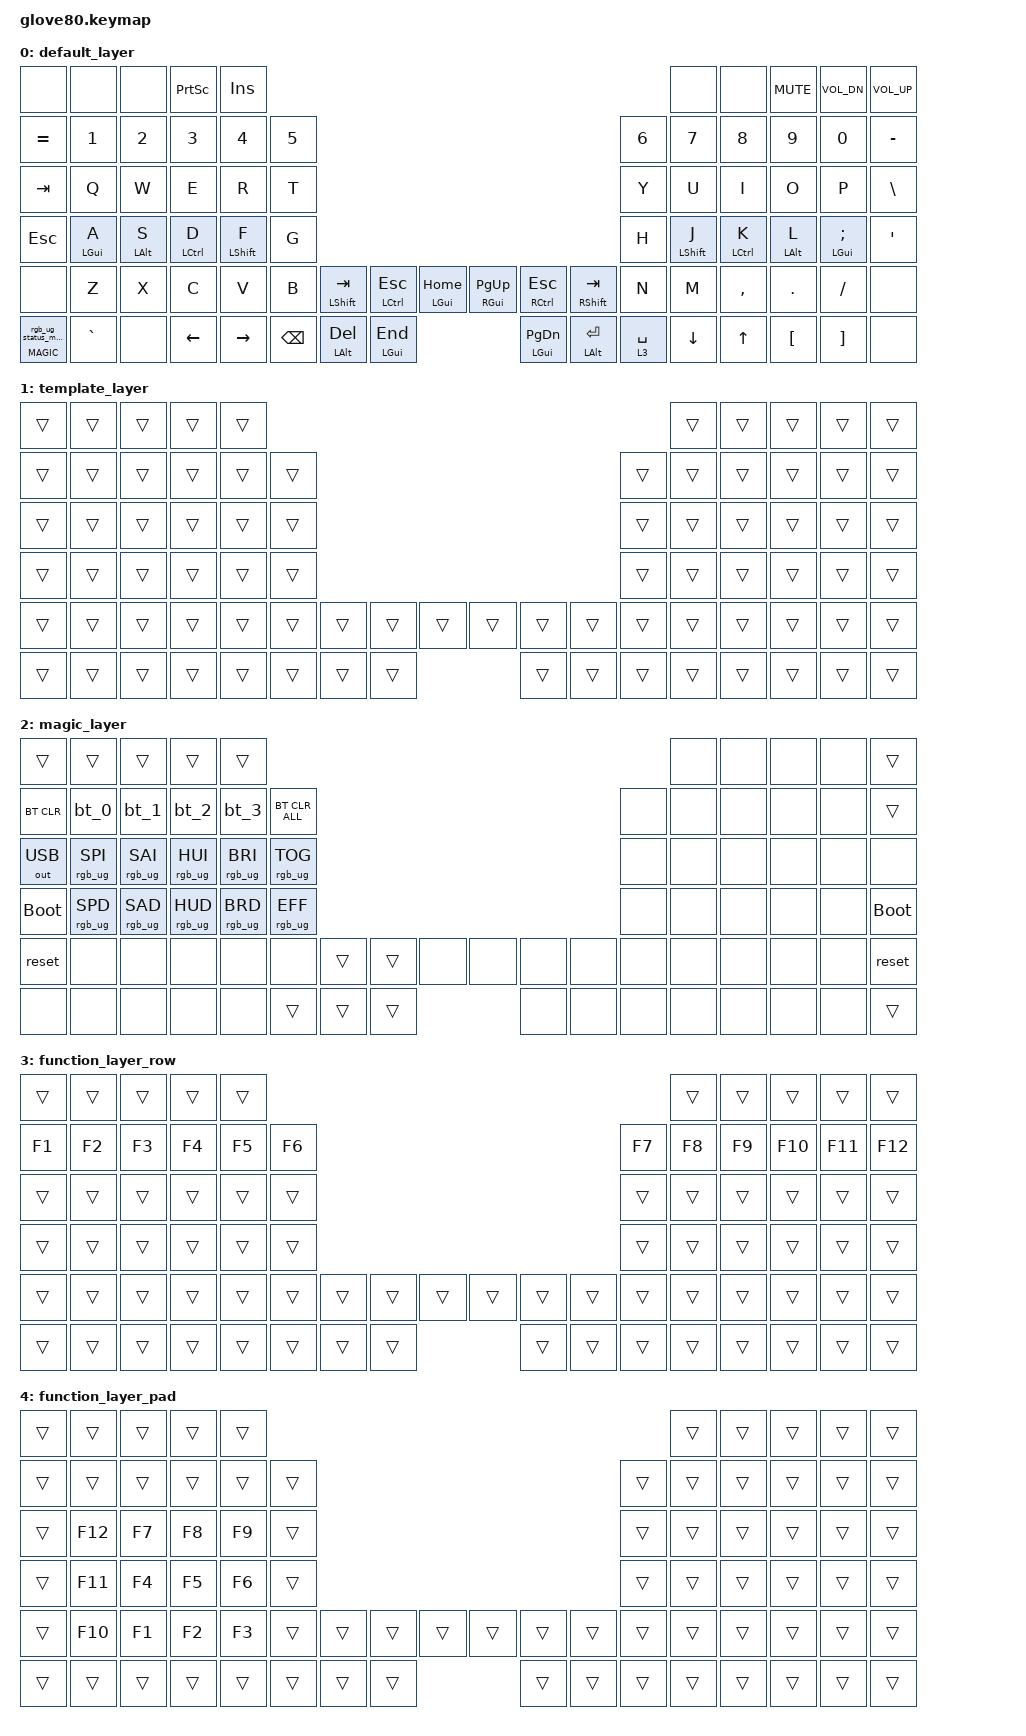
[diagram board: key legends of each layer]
/*
 * Copyright (c) 2020 The ZMK Contributors
 *
 * SPDX-License-Identifier: MIT
 */

#include <behaviors.dtsi>
#include <dt-bindings/zmk/keys.h>
#include <dt-bindings/zmk/bt.h>
#include <dt-bindings/zmk/ext_power.h>
#include <dt-bindings/zmk/outputs.h>
#include <dt-bindings/zmk/rgb.h>

#define HYPER LC(LS(LG(LALT)))

// layers
#define DEFAULT 0
#define LOWER 1
#define MAGIC 2
#define FACTORY_TEST 3

/ {
  behaviors {
    // For the "layer" key, it'd nice to be able to use it as either a shift or a toggle.
    // Configure it as a tap dance, so the first tap (or hold) is a &mo and the second tap is a &to
    layer_td: tap_dance_0 {
      compatible = "zmk,behavior-tap-dance";
      label = "LAYER_TAP_DANCE";
      #binding-cells = <0>;
      tapping-term-ms = <200>;
      bindings = <&mo LOWER>, <&to LOWER>;
    };

    // From: https://my.glove80.com/#/layout/user/b4b61f1b-ebd3-4a59-b261-e7b9a76d25e4
    lh_hr_mt: behavior_left_hand_home_row_mod_tap {
      compatible = "zmk,behavior-hold-tap";
      label = "LEFT_HAND_HOME_ROW_MOD_TAP";
      #binding-cells = <2>;
      flavor = "balanced";
      tapping-term-ms = <280>;
      quick-tap-ms = <175>;
      global-quick-tap;
      hold-trigger-key-positions
        = <                            5  6  7  8  9>
        , <                        16 17 18 19 20 21>
        , <                        28 29 30 31 32 33>
        , <                        40 41 42 43 44 45>
        , <52 53 54    55 56 57    58 59 60 61 62 63>
        , <69 70 71    72 73 74       75 76 77 78 79>
        ;
      hold-trigger-on-release;
      bindings = <&kp>, <&kp>;
    };

    // From: https://my.glove80.com/#/layout/user/b4b61f1b-ebd3-4a59-b261-e7b9a76d25e4
    rh_hr_mt: behavior_right_hand_home_row_mod_tap {
      compatible = "zmk,behavior-hold-tap";
      label = "RIGHT_HAND_HOME_ROW_MOD_TAP";
      #binding-cells = <2>;
      flavor = "balanced";
      tapping-term-ms = <280>;
      quick-tap-ms = <175>;
      global-quick-tap;
      hold-trigger-key-positions
        = <0  1  2  3  4                            >
        , <10 11 12 13 14 15                        >
        , <22 23 24 25 26 27                        >
        , <34 35 36 37 38 39                        >
        , <46 47 48 49 50 51    52 53 54    55 56 57>
        , <64 65 66 67 68       69 70 71    72 73 74>
        ;
      hold-trigger-on-release;
      bindings = <&kp>, <&kp>;
    };
  };

  macros {
    rgb_ug_status_macro: rgb_ug_status_macro_0 {
      label = "RGB_UG_STATUS";
      compatible = "zmk,behavior-macro";
      #binding-cells = <0>;
      bindings = <&rgb_ug RGB_STATUS>;
    };
  };

  macros {
    bt_0: bt_profile_macro_0 {
      label = "BT_0";
      compatible = "zmk,behavior-macro";
      #binding-cells = <0>;
      bindings = <&out OUT_BLE>, <&bt BT_SEL 0>;
    };
  };

  macros {
    bt_1: bt_profile_macro_1 {
      label = "BT_1";
      compatible = "zmk,behavior-macro";
      #binding-cells = <0>;
      bindings = <&out OUT_BLE>, <&bt BT_SEL 1>;
    };
  };

  macros {
    bt_2: bt_profile_macro_2 {
      label = "BT_2";
      compatible = "zmk,behavior-macro";
      #binding-cells = <0>;
      bindings = <&out OUT_BLE>, <&bt BT_SEL 2>;
    };
  };

  macros {
    bt_3: bt_profile_macro_3 {
      label = "BT_3";
      compatible = "zmk,behavior-macro";
      #binding-cells = <0>;
      bindings = <&out OUT_BLE>, <&bt BT_SEL 3>;
    };
  };

  magic: magic_hold_tap {
    compatible = "zmk,behavior-hold-tap";
    label = "MAGIC_HOLD_TAP";
    #binding-cells = <2>;
    flavor = "tap-preferred";
    tapping-term-ms = <200>;
    bindings = <&mo>, <&rgb_ug_status_macro>;
  };

  #define PAUSE &kp PAUSE_BREAK
  #define ALT_DEL &mt LALT DEL
  #define ALT_RET &mt LALT RET
  #define _MAGIC   &magic MAGIC 0

  // Left thumbs
  #define SFT_TAB   &mt LSHFT TAB
  #define LGUI_HOME &mt LGUI HOME
  #define LGUI_END  &mt LGUI END
  #define LCTL_ESC  &mt LCTRL ESC

  // Right thumbs
  #define RGUI_PGUP &mt RGUI PG_UP
  #define LGUI_PGDN &mt LGUI PG_DN
  #define RSFT_TAB  &mt RSHFT TAB
  #define RCTL_ESC  &mt RCTRL ESC

  // Home row mods - QWERTY - Left
  #define HM_A  &lh_hr_mt LGUI A
  #define HM_S  &lh_hr_mt LALT S
  #define HM_D  &lh_hr_mt LCTRL D
  #define HM_F  &lh_hr_mt LSHFT F

  // Home row mods - QWERTY - Right
  #define HM_J    &rh_hr_mt LSHFT J
  #define HM_K    &rh_hr_mt LCTRL K
  #define HM_L    &rh_hr_mt LALT L
  #define HM_SQT  &rh_hr_mt LGUI SQT
  #define HM_SEMI &rh_hr_mt LGUI SEMI

  #define VOL_UP  &kp C_VOL_UP
  #define VOL_DN  &kp C_VOL_DN
  #define _MUTE   &kp C_MUTE

  keymap {
    compatible = "zmk,keymap";

    default_layer {
      bindings = <
        &none          &none    &none       &kp PSCRN   &kp INS                                               /**/                                          &none    &none       _MUTE       VOL_DN      VOL_UP
        &kp EQUAL      &kp N1   &kp N2      &kp N3      &kp N4      &kp N5                                    /**/                                  &kp N6  &kp N7   &kp N8      &kp N9      &kp N0      &kp MINUS
        &kp TAB        &kp Q    &kp W       &kp E       &kp R       &kp T                                     /**/                                  &kp Y   &kp U    &kp I       &kp O       &kp P       &kp BSLH
        &kp ESC        HM_A     HM_S        HM_D        HM_F        &kp G                                     /**/                                  &kp H   HM_J     HM_K        HM_L        HM_SEMI     &kp SQT
        &none          &kp Z    &kp X       &kp C       &kp V       &kp B   SFT_TAB     LCTL_ESC    LGUI_HOME /**/  RGUI_PGUP RCTL_ESC  RSFT_TAB    &kp N   &kp M    &kp COMMA   &kp DOT     &kp FSLH    &none
        _MAGIC         &kp GRAVE &none      &kp LEFT    &kp RIGHT           &kp BSPC    ALT_DEL     LGUI_END  /**/  LGUI_PGDN ALT_RET   &lt 3 SPACE         &kp DOWN &kp UP      &kp LBKT    &kp RBKT    &none
        >;
    };

    template_layer {
      bindings = <
        &trans    &trans      &trans   &trans   &trans                                            /**/                                                  &trans       &trans       &trans        &trans          &trans
        &trans    &trans      &trans   &trans   &trans   &trans                                   /**/                                     &trans       &trans       &trans       &trans        &trans          &trans
        &trans    &trans      &trans   &trans   &trans   &trans                                   /**/                                     &trans       &trans       &trans       &trans        &trans          &trans
        &trans    &trans      &trans   &trans   &trans   &trans                                   /**/                                     &trans       &trans       &trans       &trans        &trans          &trans
        &trans    &trans      &trans   &trans   &trans   &trans   &trans      &trans      &trans  /**/   &trans      &trans      &trans    &trans       &trans       &trans       &trans        &trans          &trans
        &trans    &trans      &trans   &trans   &trans            &trans      &trans      &trans  /**/   &trans      &trans      &trans                 &trans       &trans       &trans        &trans          &trans
        >;
    };

    #define _BT_CLR &bt BT_CLR
    #define _BT_CLR_ALL &bt BT_CLR_ALL

    magic_layer {
      bindings = <
        &trans            &trans              &trans          &trans          &trans                                                      /**/                                              &none      &none      &none      &none      &trans
        _BT_CLR           &bt_0               &bt_1           &bt_2           &bt_3           _BT_CLR_ALL                                 /**/                                   &none      &none      &none      &none      &none      &trans
        &out OUT_USB      &rgb_ug RGB_SPI     &rgb_ug RGB_SAI &rgb_ug RGB_HUI &rgb_ug RGB_BRI &rgb_ug RGB_TOG                             /**/                                   &none      &none      &none      &none      &none      &none
        &bootloader       &rgb_ug RGB_SPD     &rgb_ug RGB_SAD &rgb_ug RGB_HUD &rgb_ug RGB_BRD &rgb_ug RGB_EFF                             /**/                                   &none      &none      &none      &none      &none      &bootloader
        &reset            &none               &none           &none           &none           &none           &trans    &trans    &none   /**/   &none     &none     &none       &none      &none      &none      &none      &none      &reset
        &none             &none               &none           &none           &none                           &trans    &trans    &trans  /**/   &none     &none     &none                  &none      &none      &none      &none      &trans
        >;
    };

    function_layer_row {
      bindings = <
        &trans    &trans      &trans   &trans   &trans                                           /**/                                                  &trans       &trans       &trans        &trans          &trans
        &kp F1    &kp F2      &kp F3   &kp F4   &kp F5   &kp F6                                  /**/                                     &kp F7       &kp F8       &kp F9       &kp F10       &kp F11         &kp F12
        &trans    &trans      &trans   &trans   &trans   &trans                                  /**/                                     &trans       &trans       &trans       &trans        &trans          &trans
        &trans    &trans      &trans   &trans   &trans   &trans                                  /**/                                     &trans       &trans       &trans       &trans        &trans          &trans
        &trans    &trans      &trans   &trans   &trans   &trans   &trans      &trans      &trans /**/   &trans      &trans      &trans    &trans       &trans       &trans       &trans        &trans          &trans
        &trans    &trans      &trans   &trans   &trans            &trans      &trans      &trans /**/   &trans      &trans      &trans                 &trans       &trans       &trans        &trans          &trans
        >;
    };

    function_layer_pad {
      bindings = <
        &trans    &trans      &trans   &trans   &trans                                           /**/                                                  &trans       &trans       &trans        &trans          &trans
        &trans    &trans      &trans   &trans   &trans   &trans                                  /**/                                     &trans       &trans       &trans       &trans        &trans          &trans
        &trans    &kp F12     &kp F7   &kp F8   &kp F9   &trans                                  /**/                                     &trans       &trans       &trans       &trans        &trans          &trans
        &trans    &kp F11     &kp F4   &kp F5   &kp F6   &trans                                  /**/                                     &trans       &trans       &trans       &trans        &trans          &trans
        &trans    &kp F10     &kp F1   &kp F2   &kp F3   &trans   &trans      &trans      &trans /**/   &trans      &trans      &trans    &trans       &trans       &trans       &trans        &trans          &trans
        &trans    &trans      &trans   &trans   &trans            &trans      &trans      &trans /**/   &trans      &trans      &trans                 &trans       &trans       &trans        &trans          &trans
        >;
    };
  };
};
